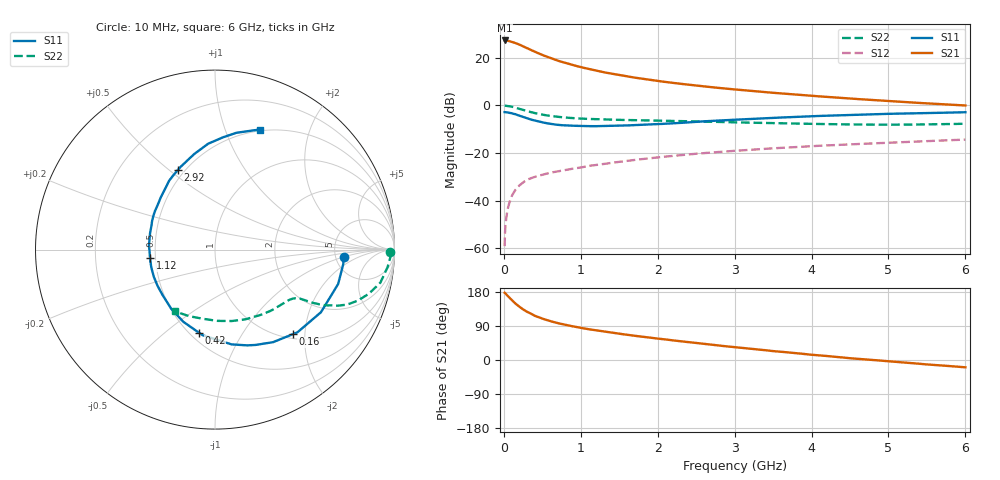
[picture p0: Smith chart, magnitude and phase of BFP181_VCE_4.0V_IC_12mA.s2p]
! Infineon Technologies  Discrete & RF Semiconductors
! BFP181
! VCE = 4.0 V,  IC =  12 mA
! Common Emitter S-Parameters:  Jan 2016
# GHz  S  MA  R  50
!  f  S11  S21  S12  S22
! GHz  MAG  ANG  MAG  ANG  MAG  ANG  MAG  ANG
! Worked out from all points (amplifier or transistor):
!   210 points, 10 MHz to 6 GHz, reference 50 ohm
!   highest |S21| = 27.2 dB at 10 MHz (marker M1)
!   |S21| within 3 dB of that: start of sweep to 286.3 MHz
!   unconditionally stable (mu >= 1): 1.049 GHz to end of sweep
!   at 185 MHz: K = 0.29, MSG = 30.0 dB, |S12| = -34.2 dB
!   at 1.52 GHz: K = 1.12, MAG = 16.0 dB, |S12| = -23.7 dB
!   at 6 GHz: K = 1.00, MAG = 6.9 dB, |S12| = -14.4 dB
!   S11 on the Smith chart (normalised r, x): 10 MHz: 5.93, -0.98; 160 MHz: 1.08, -1.73; 420 MHz: 0.55, -0.66; 1.12 GHz: 0.47, -0.05; 2.92 GHz: 0.46, +0.54; 6 GHz: 0.49, +1.33
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0.01  0.7183 -3.2  22.99 177.4  0.0011 87.7  0.9774 -0.9
0.02  0.7191 -6.5  22.95 175.7  0.0029 79.8  0.9787 -2.3
0.05  0.7124 -15.6  22.76 168.9  0.0066 83.1  0.9665 -5.8
0.1  0.6857 -30.6  21.6 158.7  0.0121 74.5  0.9397 -11.3
0.16  0.6399 -47.5  20.07 147.4  0.0175 68.4  0.8835 -16.6
0.2  0.6089 -57.9  18.92 140.7  0.0206 65.2  0.846 -19.6
0.26  0.563 -71.4  17 132.3  0.0246 60.3  0.7904 -22.9
0.3  0.536 -80.1  15.91 127.4  0.0273 57.4  0.7559 -24.4
0.4  0.4818 -98.3  13.4 116.8  0.0313 54.0  0.6852 -26.9
0.42  0.4708 -101.1  12.98 115.4  0.032 53.6  0.6752 -27.1
0.5  0.4394 -113.6  11.38 109.0  0.0347 52.0  0.6353 -28.2
0.6  0.4105 -126.3  9.921 102.6  0.0383 51.4  0.5983 -29.0
0.7  0.3891 -137.5  8.641 97.3  0.041 50.3  0.5724 -29.4
1.02  0.3675 -165.9  6.215 84.1  0.05 50.5  0.5243 -31.1
1.12  0.3648 -172.7  5.717 80.7  0.0537 50.6  0.516 -31.9
1.5  0.3734 165.6  4.317 69.2  0.065 50.8  0.4943 -35.2
2.02  0.404 142.6  3.209 56.1  0.0811 48.7  0.4752 -41.7
2.92  0.4896 115.0  2.215 35.6  0.1082 43.5  0.4421 -55.8
3.1  0.5061 110.6  2.084 32.0  0.1133 42.2  0.435 -58.9
4.1  0.5974 92.1  1.541 12.3  0.1412 34.6  0.4051 -79.1
5.1  0.6662 78.5  1.2 -5.0  0.1664 27.3  0.3912 -101.9
6  0.7149 69.3  0.991 -19.3  0.1903 20.2  0.4102 -122.9
